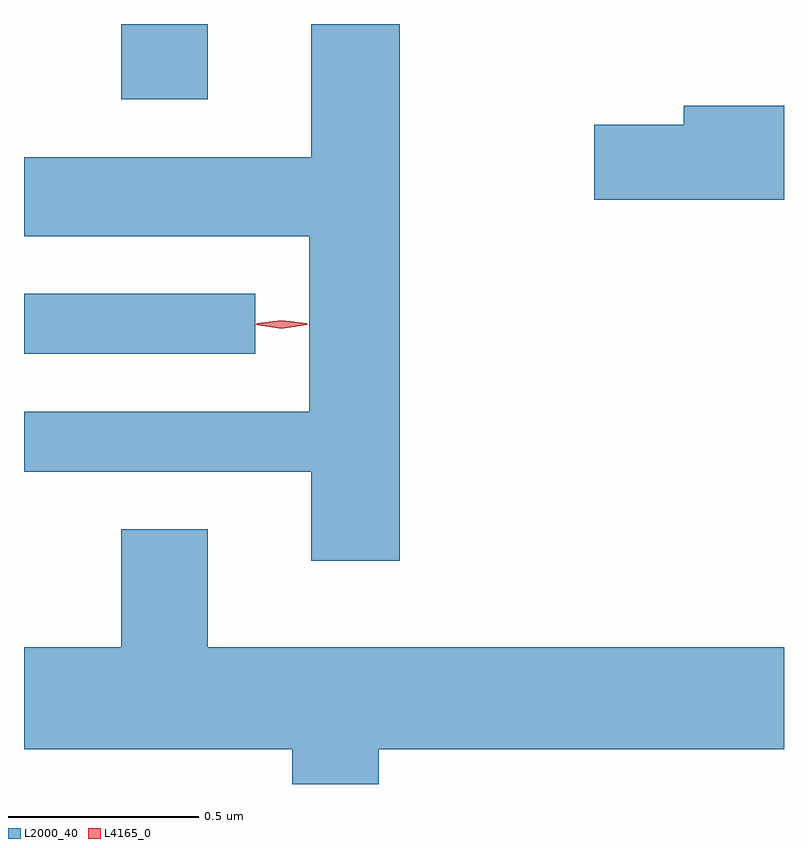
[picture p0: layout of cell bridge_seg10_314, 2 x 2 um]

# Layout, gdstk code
import gdstk
lib = gdstk.Library(unit=1e-6, precision=1e-09)
def R(c, l, rs):  # rectangles x0, y0, x1, y1
    for r in rs: c.add(gdstk.rectangle(r[:2], r[2:], *l))
def P(c, l, *ps):  # polygons
    for p in ps: c.add(gdstk.Polygon(p, *l))
L2000_40 = (2000, 40)
L4165_0 = (4165, 0)

bridge_seg10_314 = lib.new_cell('bridge_seg10_314')
R(bridge_seg10_314, L2000_40, [(1435.875,2157.136,1436.483,2157.294), (1436.131,2157.806,1436.359,2158.004)])
P(bridge_seg10_314, L2000_40, [(1436.864,2158.004),(1436.631,2158.004),(1436.631,2157.654),(1435.875,2157.654),(1435.875,2157.446),(1436.626,2157.446),(1436.626,2156.984),(1435.875,2156.984),(1435.875,2156.826),(1436.631,2156.826),(1436.631,2156.591),(1436.864,2156.591)],
  [(1437.875,2157.789),(1437.611,2157.789),(1437.611,2157.739),(1437.376,2157.739),(1437.376,2157.541),(1437.875,2157.541)],
  [(1436.809,2156.096),(1437.875,2156.096),(1437.875,2156.364),(1436.359,2156.364),(1436.359,2156.674),(1436.131,2156.674),(1436.131,2156.364),(1435.875,2156.364),(1435.875,2156.096),(1436.581,2156.096),(1436.581,2156.004),(1436.809,2156.004)])
P(bridge_seg10_314, L4165_0, [(1436.553,2157.202),(1436.484,2157.212),(1436.484,2157.212),(1436.484,2157.213),(1436.553,2157.222),(1436.622,2157.213),(1436.623,2157.212),(1436.622,2157.212)],
  [(1436.553,2157.205),(1436.487,2157.214),(1436.487,2157.215),(1436.487,2157.216),(1436.553,2157.225),(1436.619,2157.216),(1436.62,2157.215),(1436.619,2157.214)])

lib.write_gds('bridge_seg10_314.gds')
